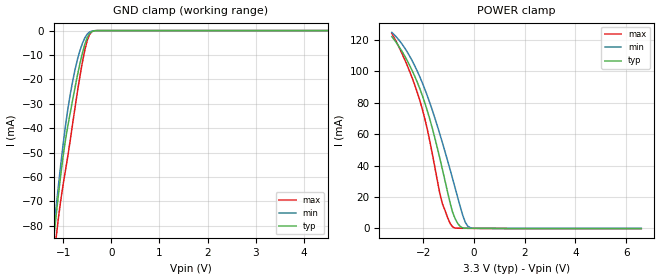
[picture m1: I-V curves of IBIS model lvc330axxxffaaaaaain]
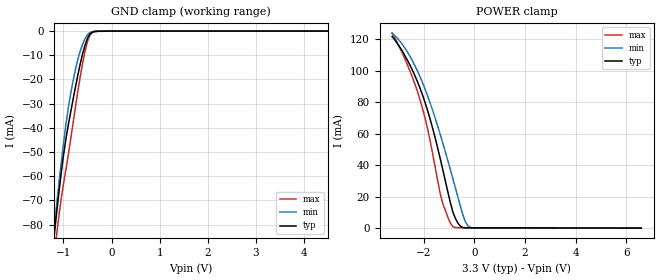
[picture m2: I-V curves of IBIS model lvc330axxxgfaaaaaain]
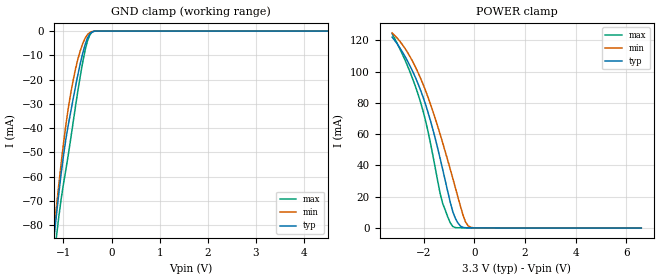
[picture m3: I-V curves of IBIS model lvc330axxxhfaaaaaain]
| IBIS Models Generator: Lattice Diamond (64-bit) 3.12.1.454
| Generate date: Sat Aug 19 21:55:13 2023
| IBIS File LibisMaker.ibs
| LibisGen v2.0.1.0, 02/25/2008, Lattice Semiconductor Corporation
| Modified by LibisMaker v2.0.1.0, 02/25/2008, Lattice Semiconductor
| North Carolina State University, ERL, 2006
[IBIS ver]   3.2
[File Name]   LCMXO2_640HC_impl1.ibs
[File Rev]   3.5
[Date]   Thu Sep 10 07:33:23 PDT 2020
[Source]   Lattice Semiconductor cs200fl Process
   LCMXO2-640HC   FINAL
   Lattice Semiconductor has worked hard to ensure the
   models below are accurate and complete.  However, the
   data below was generated using simulation of the
   input/output model files for the silicon.  Therefore,
   the data below is for reference and initial design
   purposes only.
   Lattice Semiconductor grants permission to use this
   data for use in printed circuit design using this
   Lattice programmable logic device.  Other use of this
   code, including the selling or duplication of any
   portion is strictly prohibited.
|   NAMING CONVENTION
   The IBIS [Model] header is limited by the specification to a
   total of characters.  With such a set of characters available
   for naming models it becomes important to attempt to
   meaningfully encode the IO standards so they fit within the
   twenty character limit.  It would seem that twenty characters
   would provide room enough for describing IO's.  However, the
   PLD IO structure continues to grow more and more complex.  The
   complexity is making the twenty characters insuffiently
   descriptive.  In order to overcome this issue the naming
   convention described below is implemented to resolve the issue.
The twenty character space is managed as follows:
   bbbvvvsdddprugtcoixx
   b = standard
   v = voltage (x.xx V)
   s = slew code
   d = drive (xx.x ma)
   p = pullup code
   r = series resistance  or bank_vccio code
   u = terminate to vcc code
   g = terminate to gnd code
   t = terminate to vtt code
   c = common mode termination mode
   o = diff resistor code
   i = diff resistor current code
   x = reserved
   standard
   lvcmos   lvc
   lvcmosd   lvd
   lvcmosr   lvr
   lvds25e   lve
   lvttl   lvt
   lvttld   ltd
   pci   pci
   sstl_I   ss1
   sstl_II   ss2
   sstld_I   s1d
   sstld_II   s2d
   hstl_i   hs1
   hstl_ii   hs2
   hstld_i   h1d
   hstld_ii   h2d
   lvds25   lvs
   blvds25   blv
   blvds25e   blv
   mlvds25   mlv
   mlvds25e   mlv
   lvpecl33   lvp
   lvpecl33e   lvp
   rsds25   rsd
   rsds25e   rse
   mipi   mip
   mipi_lp   mip
   vref1   vr1
   vref2   vr2
   ref_res   rer
   slew
   na   a
   fast   f
   slow   s
   pullmode
   off   a
   pullup   b
   pulldown   c
   bushold   d
   clamp   e
   up_clamp   f
   down_clamp   g
   keeper_clamp   h
   impedance or Bank_vccio
   off   a
   25   b
   33   c
   50   d
   100   e
   3.3   f
   2.5   g
   1.8   h
   1.5   i
   1.2   j
   termVCC
   off   a
   50   b
   100   c
   120   d
   termGND
   off   a
   50   b
   100   c
   120   d
   termVTT
   off   a
   60   b
   75   c
   120   d
   150   e
   210   f
   VCMT
   off   a
   VCMT   b
   VTT   c
   DDR-2   d
   differential resistor
   off   a
   100   b
   diff drive
   NA   a
   2.0   b
   3.5   c
   1.25   f
   2.5   g
   Reserved   IO type
   in   input only
   ou   output
   io   I/O
   od   Open drain
   on   Inverting differential I/O
   (signal name only)
   op   Non-Inverting differential I/O
   (signal name only)
   Lattice Semiconductor Corporation
   5555 NE Moore Court
   Hillsboro, OR 97214
   U.S.A
   TEL: 1-800-Lattice (USA and Canada)
   408-826-6000 (other locations)
   web: http://www.latticesemi.com/
   email: techsupport@latticesemi.com
[Disclaimer] This IBIS source code is intended as a design reference
   which illustrates how the Lattice Semiconductor device operates.
   It is the user's responsibility to verify their design for
   consistency and functionality through the use of formal
   verification methods.  Lattice Semiconductor provides no warranty
   regarding the use or functionality of this data.
[Copyright]   Copyright 2007 by Lattice Semiconductor Corporation
|   Component XO2
[Component]   XO2
[Manufacturer]   Lattice Semiconductor Corp.
[Package]
|TQFP100
| variable   typ   min   max
R_pkg   150.5m   124.0m   187.0m
L_pkg   6.27nH   5.50nH   7.16nH
C_pkg   0.95pF   0.87pF   1.07pF
[Pin] signal_name   model_name   R_pin   L_pin   C_pin
10   CROW[0]   lvc330axxxhfaaaaaain
16   CROW[1]   lvc330axxxhfaaaaaain
3   Din[0]   lvc330axxxhfaaaaaain
96   Din[1]   lvc330axxxhfaaaaaain
88   Din[2]   lvc330axxxhfaaaaaain
97   Din[3]   lvc330axxxhfaaaaaain
99   Din[4]   lvc330axxxhfaaaaaain
98   Din[5]   lvc330axxxhfaaaaaain
2   Din[6]   lvc330axxxhfaaaaaain
1   Din[7]   lvc330axxxhfaaaaaain
76   Dout[0]   lvc330s040daaaaaaaou
86   Dout[1]   lvc330s040daaaaaaaou
87   Dout[2]   lvc330s040daaaaaaaou
85   Dout[3]   lvc330s040daaaaaaaou
83   Dout[4]   lvc330s040daaaaaaaou
84   Dout[5]   lvc330s040daaaaaaaou
78   Dout[6]   lvc330s040daaaaaaaou
82   Dout[7]   lvc330s040daaaaaaaou
34   LED   lvc330s240daaaaaaaou
14   MAin[0]   lvc330axxxhfaaaaaain
12   MAin[1]   lvc330axxxhfaaaaaain
13   MAin[2]   lvc330axxxhfaaaaaain
21   MAin[3]   lvc330axxxhfaaaaaain
20   MAin[4]   lvc330axxxhfaaaaaain
19   MAin[5]   lvc330axxxhfaaaaaain
24   MAin[6]   lvc330axxxhfaaaaaain
18   MAin[7]   lvc330axxxhfaaaaaain
25   MAin[8]   lvc330axxxhfaaaaaain
32   MAin[9]   lvc330axxxhfaaaaaain
8   PHI2   lvc330axxxgfaaaaaain
66   RA[0]   lvc330s040daaaaaaaou
64   RA[10]   lvc330s040daaaaaaaou
59   RA[11]   lvc330s040daaaaaaaou
67   RA[1]   lvc330s040daaaaaaaou
69   RA[2]   lvc330s040daaaaaaaou
71   RA[3]   lvc330s040daaaaaaaou
74   RA[4]   lvc330s040daaaaaaaou
70   RA[5]   lvc330s040daaaaaaaou
68   RA[6]   lvc330s040daaaaaaaou
75   RA[7]   lvc330s040daaaaaaaou
65   RA[8]   lvc330s040daaaaaaaou
63   RA[9]   lvc330s040daaaaaaaou
58   RBA[0]   lvc330s040daaaaaaaou
60   RBA[1]   lvc330s040daaaaaaaou
53   RCKE   lvc330s040daaaaaaaou
62   RCLK   lvc330axxxhfaaaaaain
51   RDQMH   lvc330s040daaaaaaaou
48   RDQML   lvc330s040daaaaaaaou
36   RD[0]   lvc330s040haaaaaaaio
37   RD[1]   lvc330s040haaaaaaaio
38   RD[2]   lvc330s040haaaaaaaio
39   RD[3]   lvc330s040haaaaaaaio
40   RD[4]   lvc330s040haaaaaaaio
41   RD[5]   lvc330s040haaaaaaaio
42   RD[6]   lvc330s040haaaaaaaio
43   RD[7]   lvc330s040haaaaaaaio
9   nCCAS   lvc330axxxffaaaaaain
17   nCRAS   lvc330axxxffaaaaaain
15   nFWE   lvc330axxxffaaaaaain
52   nRCAS   lvc330s040daaaaaaaou
57   nRCS   lvc330s040daaaaaaaou
54   nRRAS   lvc330s040daaaaaaaou
49   nRWE   lvc330s040daaaaaaaou
| Models and submodels in the file (6): lvc330axxxffaaaaaain (Input), lvc330axxxgfaaaaaain (Input), lvc330axxxhfaaaaaain (Input), lvc330s040daaaaaaaou (Output), lvc330s040haaaaaaaio (I/O), lvc330s240daaaaaaaou (Output)
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[Model]   lvc330axxxffaaaaaain
Model_type   Input
Polarity   Non-Inverting
Enable   Active-Low
Vinl =   0.8000V
Vinh =   2.0000V
C_comp   4.2000pF   3.8000pF   7.5000pF
[Temperature Range]   25.0000   0.1050k   -40.0000
[Voltage Range]   3.3000V   3.1400V   3.4700V
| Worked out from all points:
|   GND clamp passes 1 mA (typ) near -0.44 V on its own axis
|   POWER clamp passes 1 mA (typ) near -0.53 V on its own axis
[GND_clamp]
|Voltage   I(typ)   I(min)   I(max)
-3.3V     -955.2mA   -930.2mA   -977.8mA
-1.2V     -86.07mA   -82.87mA   -94.72mA
-1.15V    -76.63mA   -73.23mA   -85.56mA
-1.1V     -67.6mA    -63.89mA   -77.1mA
-1V       -51.41mA   -46.51mA   -63.05mA
-900mV    -38.77mA   -31.83mA   -51.09mA
-800mV    -28.16mA   -20.53mA   -37.81mA
-700mV    -18.01mA   -11.59mA   -24.66mA
-600mV    -9.192mA   -5.229mA   -12.92mA
-450mV    -1.151mA   -576.6uA   -1.527mA
-300mV    -17.4uA    -15.66uA   -11.6uA
6.6V      0A         0A         0A
[POWER_clamp]
|Voltage   I(typ)   I(min)   I(max)
-3.25V    122.1mA    124.8mA    124.2mA
-2.65V    107.1mA    112.6mA    104.1mA
-2.35V    97.06mA    103.7mA    91.56mA
-2.05V    84.81mA    92.86mA    76.2mA
-1.65V    63.69mA    75.19mA    47.4mA
-1.35V    44.32mA    59.82mA    21.89mA
-1.25V    37.38mA    54.39mA    15.53mA
-850mV    10.3mA     31.63mA    860uA
-650mV    3.168mA    19.76mA    65.53uA
-350mV    73.34uA    3.862mA    3.121uA
-150mV    17.77uA    366.8uA    -28.16uA
6.6V      -143.8uA   -91.66uA   -226.3uA
[Model]   lvc330axxxgfaaaaaain
Model_type   Input
Polarity   Non-Inverting
Enable   Active-Low
Vinl =   0.8000V
Vinh =   2.0000V
C_comp   4.2000pF   3.8000pF   7.5000pF
[Temperature Range]   25.0000   0.1050k   -40.0000
[Voltage Range]   3.3000V   3.1400V   3.4700V
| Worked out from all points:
|   GND clamp passes 1 mA (typ) near -0.43 V on its own axis
|   POWER clamp passes 1 mA (typ) near -0.53 V on its own axis
[GND_clamp]
|Voltage   I(typ)   I(min)   I(max)
-3.3V     -955.3mA   -930.3mA   -978mA
-1.2V     -86.21mA   -82.95mA   -94.94mA
-1.15V    -76.76mA   -73.31mA   -85.77mA
-1.1V     -67.73mA   -63.97mA   -77.32mA
-1V       -51.54mA   -46.59mA   -63.26mA
-900mV    -38.9mA    -31.9mA    -51.31mA
-800mV    -28.29mA   -20.61mA   -38.02mA
-700mV    -18.14mA   -11.66mA   -24.86mA
-600mV    -9.315mA   -5.302mA   -13.12mA
-450mV    -1.255mA   -637uA     -1.701mA
0V        0A         0A         0A
6.6V      0A         0A         0A
[POWER_clamp]
|Voltage   I(typ)   I(min)   I(max)
-3.25V    121.9mA    123.9mA    124.1mA
-2.65V    106.9mA    112.1mA    104.1mA
-2.35V    96.95mA    103.3mA    91.59mA
-2.05V    84.73mA    92.58mA    76.25mA
-1.65V    63.65mA    75mA       47.49mA
-1.35V    44.31mA    59.69mA    21.99mA
-1.25V    37.38mA    54.28mA    15.6mA
-850mV    10.32mA    31.58mA    939uA
-650mV    3.193mA    19.74mA    210uA
-350mV    132.1uA    3.862mA    199.7uA
-150mV    104.6uA    375.8uA    197.7uA
6.6V      -56.35nA   -1.463uA   -71.55uA
[Model]   lvc330axxxhfaaaaaain
Model_type   Input
Polarity   Non-Inverting
Enable   Active-Low
Vinl =   0.8000V
Vinh =   2.0000V
C_comp   4.2000pF   3.8000pF   7.5000pF
[Temperature Range]   25.0000   0.1050k   -40.0000
[Voltage Range]   3.3000V   3.1400V   3.4700V
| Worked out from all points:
|   GND clamp passes 1 mA (typ) near -0.44 V on its own axis
|   POWER clamp passes 1 mA (typ) near -0.53 V on its own axis
[GND_clamp]
|Voltage   I(typ)   I(min)   I(max)
-3.3V     -955.2mA   -930.2mA   -977.8mA
-1.2V     -86.08mA   -82.87mA   -94.74mA
-1.15V    -76.63mA   -73.22mA   -85.57mA
-1.1V     -67.6mA    -63.89mA   -77.12mA
-1V       -51.41mA   -46.51mA   -63.06mA
-900mV    -38.77mA   -31.82mA   -51.11mA
-800mV    -28.16mA   -20.53mA   -37.82mA
-700mV    -18.01mA   -11.58mA   -24.66mA
-600mV    -9.185mA   -5.219mA   -12.92mA
-450mV    -1.125mA   -553.6uA   -1.501mA
-300mV    0A         0A         0A
6.6V      0A         0A         0A
[POWER_clamp]
|Voltage   I(typ)   I(min)   I(max)
-3.25V    122.1mA    124.8mA    124.2mA
-2.65V    107.1mA    112.6mA    104.1mA
-2.35V    97.06mA    103.7mA    91.56mA
-2.05V    84.81mA    92.86mA    76.2mA
-1.65V    63.69mA    75.19mA    47.4mA
-1.35V    44.32mA    59.82mA    21.89mA
-1.25V    37.38mA    54.39mA    15.53mA
-850mV    10.3mA     31.63mA    860uA
-650mV    3.168mA    19.76mA    65.53uA
-350mV    73.34uA    3.862mA    3.121uA
-150mV    17.77uA    366.8uA    -28.16uA
6.6V      -130.5uA   -83.29uA   -201.6uA
